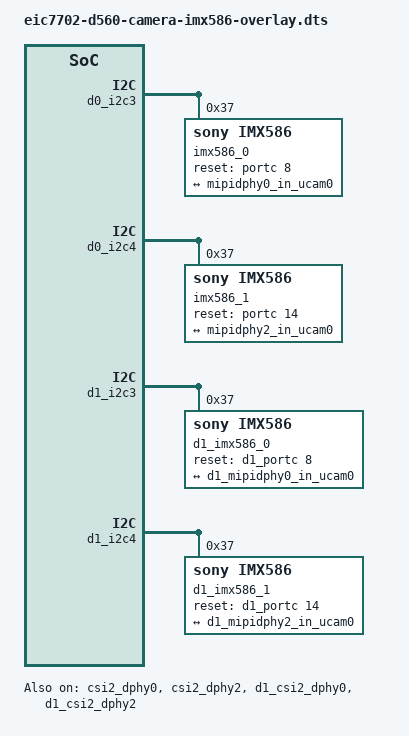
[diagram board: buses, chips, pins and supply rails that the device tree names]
/dts-v1/;
/plugin/;

/ {
    fragment@0 {
		target =  <&camera_imx219>;
		__overlay__ { 
			status = "disabled";
		};
	};

	fragment@1 {
		target =  <&camera_imx219_1>;
		__overlay__ { 
			status = "disabled";
		};
	};

    fragment@2 {
		target =  <&d1_camera_imx219>;
		__overlay__ { 
			status = "disabled";
		};
	};

	fragment@3 {
		target =  <&d1_camera_imx219_1>;
		__overlay__ { 
			status = "disabled";
		};
	};

	fragment@4 { 
		target = <&mipidphy0_in_ucam0>;
		__overlay__ {
			remote-endpoint = <&imx586_out0>;
			data-lanes = <1 2 3 4>;
		};
	};

	fragment@5 {
		target = <&mipidphy2_in_ucam0>;
		__overlay__ {
			remote-endpoint = <&imx586_out1>;
			data-lanes = <1 2 3 4>;
		};
	};

	fragment@6 {
		target = <&d1_mipidphy0_in_ucam0>;
		__overlay__ {
			remote-endpoint = <&d1_imx586_out0>;
			data-lanes = <1 2 3 4>;
		};
	};

	fragment@7 {
		target = <&d1_mipidphy2_in_ucam0>;
		__overlay__ {
			remote-endpoint = <&d1_imx586_out1>;
			data-lanes = <1 2 3 4>;
		};
	};

	fragment@8 {
		target = <&csi2_dphy0>;
		__overlay__ {
			status = "okay";
		};
	};

	fragment@9 {
		target = <&csi2_dphy2>;
		__overlay__ {
			status = "okay";
		};
	};

	fragment@10 {
		target = <&d1_csi2_dphy0>;
		__overlay__ {
			status = "okay";
		};
	};

	fragment@11 {
		target = <&d1_csi2_dphy2>;
		__overlay__ {
			status = "okay";
		};
	};

	fragment@12 {
		target = <&d0_i2c3>;
		__overlay__ {
			#address-cells = <1>;
			#size-cells = <0>;
			imx586_0: imx586@37 {
				compatible = "sony,imx586";
				reg = <0x37>;
				clock-names="xvclk";
				clocks = <&d0_clock 0x244>;
				assigned-clocks = <&d0_clock 0x244>;
				assigned-clock-rates = <37125000>;
				reset-gpio = <&portc 8 0>;
				status = "okay";
				port {
					imx586_out0: endpoint {
						remote-endpoint = <&mipidphy0_in_ucam0>;
						data-lanes = <1 2 3 4>;
						link-frequencies = /bits/ 64 <625000000>;
					};
				};
			};
		};
	};

	fragment@13 {
		target = <&d0_i2c4>;
		__overlay__ {
			#address-cells = <1>;
			#size-cells = <0>;
			imx586_1: imx586@37 {
				compatible = "sony,imx586";
				reg = <0x37>;
				clock-names="xvclk";
				clocks = <&d0_clock 0x244>;
				assigned-clocks = <&d0_clock 0x244>;
				assigned-clock-rates = <37125000>;
				reset-gpio = <&portc 14 0>;
				status = "okay";
				port {
					imx586_out1: endpoint {
						remote-endpoint = <&mipidphy2_in_ucam0>;
						data-lanes = <1 2 3 4>;
						link-frequencies = /bits/ 64 <625000000>;
					};
				};
			};
		};
	};

	fragment@14 {
		target = <&d1_i2c3>;
		__overlay__ {
			#address-cells = <1>;
			#size-cells = <0>;
			d1_imx586_0: imx586@37 {
				compatible = "sony,imx586";
				reg = <0x37>;
				clock-names="xvclk";
				clocks = <&d1_clock 0x244>;
				assigned-clocks = <&d1_clock 0x244>;
				assigned-clock-rates = <37125000>;
				reset-gpio = <&d1_portc 8 0>;
				status = "okay";
				port {
					d1_imx586_out0: endpoint {
						remote-endpoint = <&d1_mipidphy0_in_ucam0>;
						data-lanes = <1 2 3 4>;
						link-frequencies = /bits/ 64 <625000000>;
					};
				};
			};
		};
	};

	fragment@15 {
		target = <&d1_i2c4>;
		__overlay__ {
			#address-cells = <1>;
			#size-cells = <0>;
			d1_imx586_1: imx586@37 {
				compatible = "sony,imx586";
				reg = <0x37>;
				clock-names="xvclk";
				clocks = <&d1_clock 0x244>;
				assigned-clocks = <&d1_clock 0x244>;
				assigned-clock-rates = <37125000>;
				reset-gpio = <&d1_portc 14 0>;
				status = "okay";
				port {
					d1_imx586_out1: endpoint {
						remote-endpoint = <&d1_mipidphy2_in_ucam0>;
						data-lanes = <1 2 3 4>;
						link-frequencies = /bits/ 64 <625000000>;
					};
				};
			};
		};
	};
};

